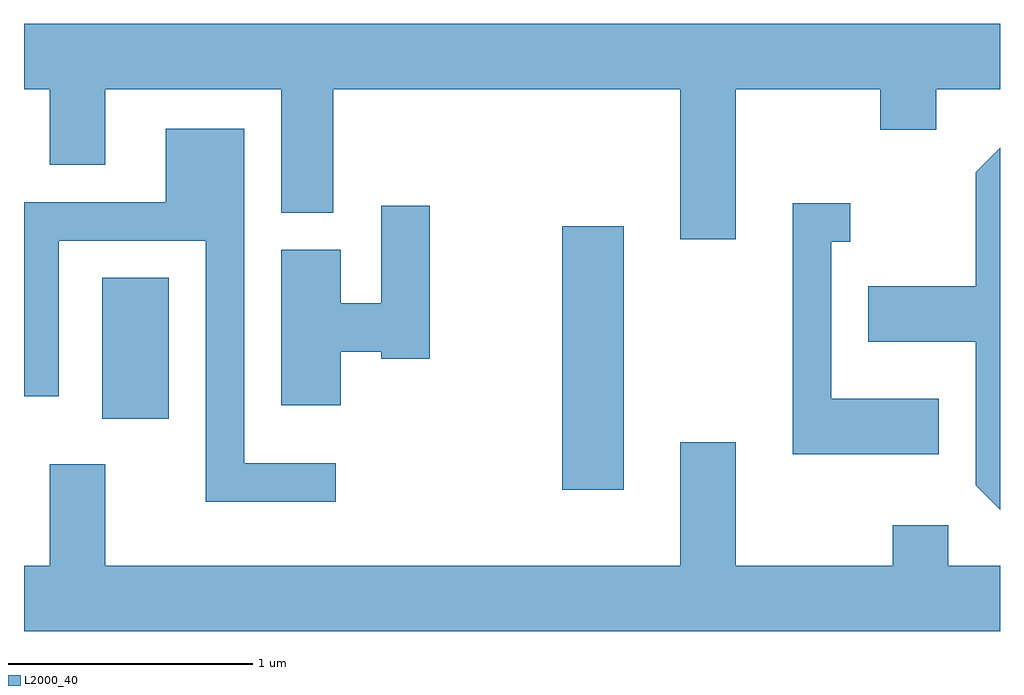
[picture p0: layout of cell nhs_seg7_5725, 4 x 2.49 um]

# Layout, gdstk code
import gdstk
lib = gdstk.Library(unit=1e-6, precision=1e-09)
def R(c, l, rs):  # rectangles x0, y0, x1, y1
    for r in rs: c.add(gdstk.rectangle(r[:2], r[2:], *l))
def P(c, l, *ps):  # polygons
    for p in ps: c.add(gdstk.Polygon(p, *l))
L2000_40 = (2000, 40)

nhs_seg7_5725 = lib.new_cell('nhs_seg7_5725')
R(nhs_seg7_5725, L2000_40, [(361.816,1774.836,362.069,1775.914), (359.931,1775.126,360.204,1775.704)])
P(nhs_seg7_5725, L2000_40, [(362.529,1776.476),(363.121,1776.476),(363.121,1776.311),(363.349,1776.311),(363.349,1776.476),(363.611,1776.476),(363.611,1776.744),(359.611,1776.744),(359.611,1776.476),(359.716,1776.476),(359.716,1776.166),(359.944,1776.166),(359.944,1776.476),(360.666,1776.476),(360.666,1775.971),(360.879,1775.971),(360.879,1776.476),(362.301,1776.476),(362.301,1775.861),(362.529,1775.861)],
  [(360.888,1774.944),(360.514,1774.944),(360.514,1776.314),(360.191,1776.314),(360.191,1776.014),(359.611,1776.014),(359.611,1775.218),(359.754,1775.218),(359.754,1775.856),(360.356,1775.856),(360.356,1774.786),(360.888,1774.786)],
  [(363.611,1776.236),(363.511,1776.137),(363.511,1775.669),(363.071,1775.669),(363.071,1775.441),(363.511,1775.441),(363.511,1774.854),(363.611,1774.754)],
  [(363.359,1775.209),(362.919,1775.209),(362.919,1775.851),(362.998,1775.851),(362.998,1776.009),(362.761,1776.009),(362.761,1774.981),(363.359,1774.981)],
  [(360.909,1775.401),(361.076,1775.401),(361.076,1775.371),(361.274,1775.371),(361.274,1775.999),(361.076,1775.999),(361.076,1775.599),(360.909,1775.599),(360.909,1775.819),(360.666,1775.819),(360.666,1775.181),(360.909,1775.181)],
  [(363.611,1774.524),(363.399,1774.524),(363.399,1774.689),(363.171,1774.689),(363.171,1774.524),(362.529,1774.524),(362.529,1775.029),(362.301,1775.029),(362.301,1774.524),(359.944,1774.524),(359.944,1774.939),(359.716,1774.939),(359.716,1774.524),(359.611,1774.524),(359.611,1774.256),(363.611,1774.256)])

lib.write_gds('nhs_seg7_5725.gds')
